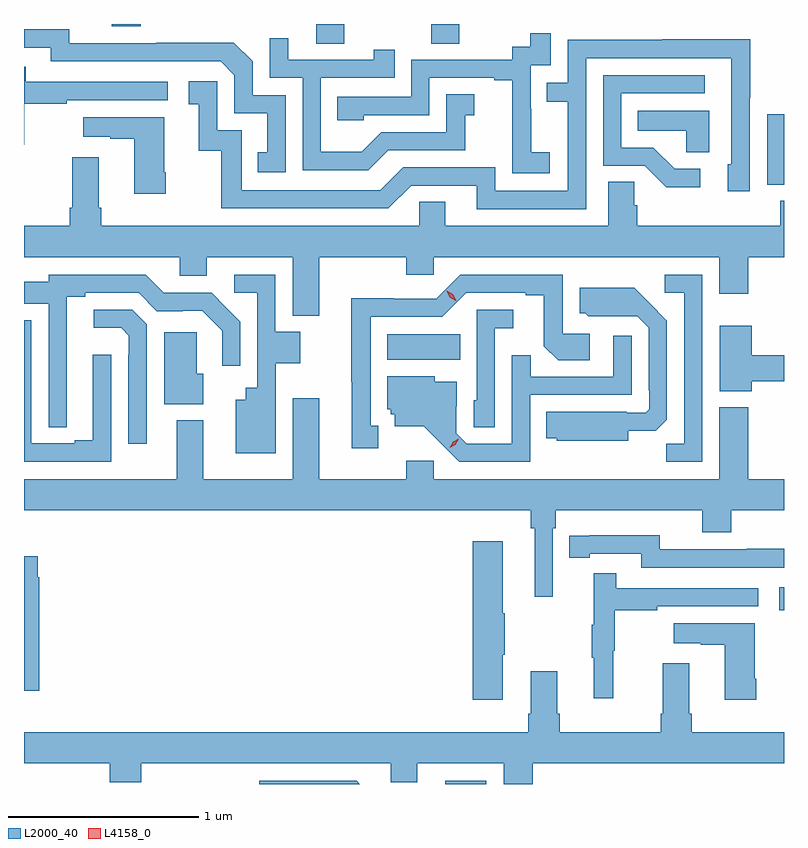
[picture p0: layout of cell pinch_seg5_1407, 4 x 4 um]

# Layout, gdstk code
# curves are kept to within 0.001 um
import gdstk
lib = gdstk.Library(unit=1e-6, precision=1e-09)
def R(c, l, rs):  # rectangles x0, y0, x1, y1
    for r in rs: c.add(gdstk.rectangle(r[:2], r[2:], *l))
def P(c, l, *ps):  # polygons
    for p in ps: c.add(gdstk.Polygon(p, *l))
L2000_40 = (2000, 40)
L4158_0 = (4158, 0)

pinch_seg5_1407 = lib.new_cell('pinch_seg5_1407')
R(pinch_seg5_1407, L2000_40, [(137.676,880.627,137.892,880.644), (139.434,881.541,139.459,881.662), (137.372,882.86,137.756,882.994), (139.371,883.782,139.459,884.152), (136.997,884.524,137.145,884.627), (137.602,884.524,137.749,884.627), (135.92,884.615,136.073,884.627)])
P(pinch_seg5_1407, L2000_40, [(136.836,884.253),(136.662,884.253),(136.662,884.43),(136.564,884.528),(136.156,884.528),(136.156,884.526),(135.696,884.526),(135.696,884.599),(135.459,884.599),(135.459,884.502),(135.6,884.502),(135.6,884.43),(136.494,884.43),(136.566,884.358),(136.566,884.157),(136.739,884.157),(136.739,883.953),(136.69,883.953),(136.69,883.848),(136.836,883.848)],
  [(138.226,883.951),(138.128,883.951),(138.128,884.18),(138.126,884.18),(138.126,884.409),(138.231,884.409),(138.231,884.578),(138.123,884.578),(138.123,884.508),(138.03,884.508),(138.03,884.439),(137.496,884.439),(137.496,884.244),(137.107,884.244),(137.107,884.121),(137.247,884.121),(137.247,884.148),(137.592,884.148),(137.592,884.343),(137.933,884.343),(137.933,884.331),(138.029,884.331),(138.029,884.047),(138.028,884.047),(138.028,883.841),(138.226,883.841)],
  [(137.377,883.962),(137.781,883.962),(137.781,884.147),(137.83,884.147),(137.83,884.257),(137.682,884.257),(137.682,884.058),(137.34,884.058),(137.236,883.954),(137.022,883.954),(137.022,884.343),(137.411,884.343),(137.411,884.491),(137.3,884.491),(137.3,884.439),(136.849,884.439),(136.849,884.551),(136.752,884.551),(136.752,884.343),(136.926,884.343),(136.926,883.857),(137.272,883.857)],
  [(138.417,884.448),(139.182,884.448),(139.182,883.89),(139.163,883.89),(139.163,883.746),(139.278,883.746),(139.278,884.239),(139.281,884.239),(139.281,884.546),(138.817,884.546),(138.817,884.544),(138.321,884.544),(138.321,884.319),(138.211,884.319),(138.211,884.218),(138.321,884.218),(138.321,883.749),(137.94,883.749),(137.94,883.872),(137.454,883.872),(137.334,883.752),(136.605,883.752),(136.605,884.067),(136.476,884.067),(136.476,884.326),(136.326,884.326),(136.326,884.205),(136.379,884.205),(136.379,883.959),(136.497,883.959),(136.497,883.656),(137.376,883.656),(137.496,883.776),(137.843,883.776),(137.843,883.653),(138.417,883.653)],
  [(135.46,884.206),(135.683,884.206),(135.683,884.226),(136.216,884.226),(136.216,884.322),(135.467,884.322),(135.467,884.401),(135.459,884.401),(135.459,883.992),(135.46,883.992)],
  [(139.018,883.866),(138.883,883.866),(138.772,883.977),(138.603,883.977),(138.603,884.262),(139.042,884.262),(139.042,884.358),(138.507,884.358),(138.507,883.881),(138.726,883.881),(138.839,883.769),(139.018,883.769)],
  [(139.066,884.17),(138.688,884.17),(138.688,884.066),(138.945,884.066),(138.945,883.951),(139.066,883.951)],
  [(136.206,883.846),(136.198,883.846),(136.198,884.137),(135.771,884.137),(135.771,884.033),(135.914,884.033),(135.914,884.023),(136.04,884.023),(136.04,883.734),(136.206,883.734)],
  [(139.118,883.206),(139.271,883.206),(139.271,883.4),(139.459,883.4),(139.459,883.697),(139.439,883.697),(139.439,883.564),(138.686,883.564),(138.686,883.673),(138.672,883.673),(138.672,883.796),(138.533,883.796),(138.533,883.564),(137.677,883.564),(137.677,883.691),(137.538,883.691),(137.538,883.564),(135.866,883.564),(135.866,883.66),(135.853,883.66),(135.853,883.927),(135.713,883.927),(135.713,883.66),(135.701,883.66),(135.701,883.564),(135.459,883.564),(135.459,883.4),(136.28,883.4),(136.28,883.301),(136.42,883.301),(136.42,883.4),(136.874,883.4),(136.874,883.091),(137.014,883.091),(137.014,883.4),(137.47,883.4),(137.47,883.307),(137.616,883.307),(137.616,883.4),(139.118,883.4)],
  [(135.684,882.613),(135.685,883.192),(135.781,883.192),(135.781,883.212),(136.062,883.212),(136.158,883.116),(136.294,883.116),(136.294,883.118),(136.396,883.118),(136.502,883.013),(136.502,882.828),(136.596,882.828),(136.596,883.06),(136.446,883.212),(136.195,883.212),(136.099,883.308),(135.588,883.308),(135.588,883.27),(135.459,883.27),(135.459,883.154),(135.588,883.154),(135.588,882.505),(135.684,882.505)],
  [(137.323,882.513),(137.284,882.513),(137.284,883.086),(137.661,883.086),(137.787,883.212),(138.101,883.212),(138.101,883.2),(138.195,883.2),(138.195,882.932),(138.271,882.856),(138.436,882.856),(138.436,882.996),(138.294,882.996),(138.294,883.308),(137.754,883.308),(137.628,883.182),(137.406,883.182),(137.406,883.184),(137.181,883.184),(137.181,882.745),(137.183,882.745),(137.183,882.393),(137.323,882.393)],
  [(139.029,883.308),(138.831,883.308),(138.831,883.212),(138.933,883.212),(138.933,882.419),(138.838,882.419),(138.838,882.324),(139.029,882.324)],
  [(136.783,882.842),(136.912,882.842),(136.912,883.006),(136.782,883.006),(136.782,883.308),(136.566,883.308),(136.566,883.212),(136.686,883.212),(136.686,882.712),(136.625,882.712),(136.625,882.649),(136.574,882.649),(136.574,882.368),(136.783,882.368)],
  [(138.64,882.485),(138.784,882.485),(138.843,882.544),(138.843,883.066),(138.671,883.24),(138.383,883.24),(138.383,883.104),(138.414,883.104),(138.43,883.088),(138.687,883.089),(138.747,883.029),(138.747,882.7),(138.75,882.7),(138.75,882.6),(138.732,882.582),(138.632,882.582),(138.632,882.586),(138.208,882.586),(138.208,882.446),(138.264,882.446),(138.264,882.434),(138.64,882.434)],
  [(137.937,883.025),(138.034,883.025),(138.034,883.122),(137.841,883.122),(137.841,882.648),(137.826,882.648),(137.826,882.505),(137.937,882.505)],
  [(136.104,883.047),(136.029,883.122),(135.825,883.122),(135.825,883.028),(135.971,883.028),(136.011,882.987),(136.011,882.887),(136.008,882.887),(136.008,882.417),(136.104,882.417)],
  [(135.918,882.886),(135.821,882.886),(135.821,882.435),(135.725,882.435),(135.725,882.42),(135.498,882.42),(135.498,883.069),(135.459,883.069),(135.459,882.324),(135.918,882.324)],
  [(139.288,882.748),(139.459,882.748),(139.459,882.884),(139.288,882.884),(139.288,883.039),(139.121,883.039),(139.121,882.695),(139.288,882.695)],
  [(136.402,882.787),(136.369,882.787),(136.369,883.005),(136.196,883.005),(136.196,882.626),(136.402,882.626)],
  [(138.123,882.675),(138.657,882.675),(138.657,882.985),(138.561,882.985),(138.561,882.771),(138.125,882.771),(138.125,882.884),(138.027,882.884),(138.027,882.417),(137.79,882.417),(137.733,882.474),(137.733,882.616),(137.737,882.616),(137.737,882.745),(137.622,882.745),(137.622,882.772),(137.372,882.772),(137.372,882.6),(137.388,882.6),(137.388,882.573),(137.411,882.573),(137.411,882.509),(137.563,882.509),(137.75,882.324),(138.123,882.324)],
  [(138.243,881.972),(138.257,881.972),(138.257,882.068),(139.028,882.068),(139.028,881.951),(139.181,881.951),(139.181,882.068),(139.459,882.068),(139.459,882.232),(139.271,882.232),(139.271,882.61),(139.118,882.61),(139.118,882.232),(137.616,882.232),(137.616,882.328),(137.47,882.328),(137.47,882.232),(137.014,882.232),(137.014,882.658),(136.874,882.658),(136.874,882.232),(136.402,882.232),(136.402,882.541),(136.262,882.541),(136.262,882.232),(135.459,882.232),(135.459,882.068),(138.127,882.068),(138.127,881.972),(138.146,881.972),(138.146,881.613),(138.243,881.613)],
  [(139.459,881.864),(139.264,881.864),(139.264,881.862),(138.804,881.862),(138.804,881.935),(138.436,881.935),(138.436,881.934),(138.328,881.934),(138.328,881.818),(138.436,881.818),(138.436,881.838),(138.708,881.838),(138.708,881.766),(139.459,881.766)],
  [(137.98,881.308),(137.988,881.308),(137.988,881.525),(137.98,881.525),(137.98,881.905),(137.822,881.905),(137.822,881.07),(137.98,881.07)],
  [(135.539,881.714),(135.532,881.714),(135.532,881.827),(135.459,881.827),(135.459,881.117),(135.539,881.117)],
  [(138.56,881.328),(138.568,881.328),(138.568,881.542),(138.791,881.542),(138.791,881.562),(139.324,881.562),(139.324,881.658),(138.575,881.658),(138.575,881.737),(138.458,881.737),(138.458,881.465),(138.447,881.465),(138.447,881.291),(138.458,881.291),(138.458,881.079),(138.56,881.079)],
  [(139.314,881.182),(139.306,881.182),(139.306,881.473),(138.879,881.473),(138.879,881.369),(139.022,881.369),(139.022,881.359),(139.148,881.359),(139.148,881.07),(139.314,881.07)],
  [(138.137,880.736),(139.459,880.736),(139.459,880.9),(138.974,880.9),(138.974,880.996),(138.961,880.996),(138.961,881.263),(138.821,881.263),(138.821,880.996),(138.809,880.996),(138.809,880.9),(138.278,880.9),(138.278,880.996),(138.265,880.996),(138.265,881.221),(138.125,881.221),(138.125,880.996),(138.113,880.996),(138.113,880.9),(135.459,880.9),(135.459,880.736),(135.911,880.736),(135.911,880.637),(136.076,880.637),(136.076,880.736),(137.39,880.736),(137.39,880.637),(137.53,880.637),(137.53,880.736),(137.984,880.736),(137.984,880.627),(138.137,880.627)],
  [(137.209,880.644),(136.698,880.644),(136.698,880.627),(137.226,880.627)])
P(pinch_seg5_1407, L4158_0, [(137.732,883.171),(137.701,883.19),(137.684,883.223),(137.684,883.223),(137.684,883.223),(137.715,883.204),(137.733,883.171),(137.733,883.171)],
  [(137.699,882.398),(137.699,882.398),(137.717,882.428),(137.748,882.443),(137.748,882.443),(137.748,882.443),(137.73,882.413),(137.7,882.398)])

lib.write_gds('pinch_seg5_1407.gds')
